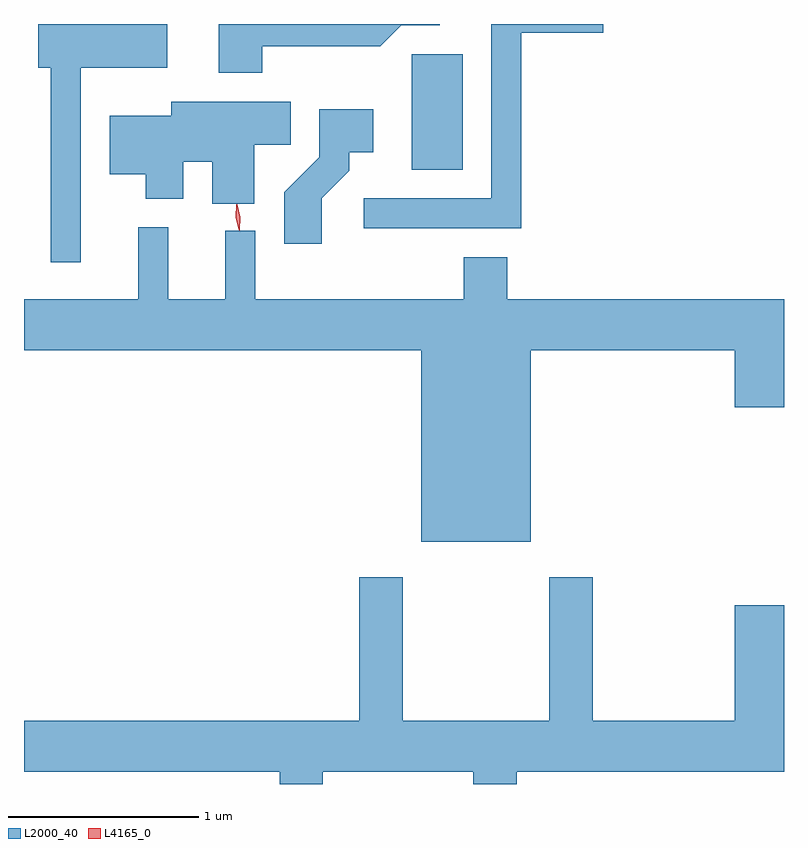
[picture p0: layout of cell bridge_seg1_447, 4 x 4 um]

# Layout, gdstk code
import gdstk
lib = gdstk.Library(unit=1e-6, precision=1e-09)
def R(c, l, rs):  # rectangles x0, y0, x1, y1
    for r in rs: c.add(gdstk.rectangle(r[:2], r[2:], *l))
def P(c, l, *ps):  # polygons
    for p in ps: c.add(gdstk.Polygon(p, *l))
L2000_40 = (2000, 40)
L4165_0 = (4165, 0)

bridge_seg1_447 = lib.new_cell('bridge_seg1_447')
R(bridge_seg1_447, L2000_40, [(353.236,860.566,353.504,861.174)])
P(bridge_seg1_447, L2000_40, [(352.449,861.216),(353.072,861.216),(353.182,861.326),(353.383,861.326),(353.383,861.332),(352.221,861.332),(352.221,861.076),(352.449,861.076)],
  [(351.494,861.101),(351.949,861.101),(351.949,861.332),(351.271,861.332),(351.271,861.101),(351.336,861.101),(351.336,860.078),(351.494,860.078)],
  [(353.814,861.286),(354.244,861.286),(354.244,861.332),(353.656,861.332),(353.656,860.414),(352.983,860.414),(352.983,860.256),(353.814,860.256)],
  [(352.409,860.696),(352.599,860.696),(352.599,860.924),(351.971,860.924),(351.971,860.849),(351.646,860.849),(351.646,860.541),(351.836,860.541),(351.836,860.411),(352.034,860.411),(352.034,860.606),(352.186,860.606),(352.186,860.386),(352.409,860.386)],
  [(352.764,860.414),(352.909,860.559),(352.909,860.656),(353.034,860.656),(353.034,860.884),(352.751,860.884),(352.751,860.632),(352.566,860.447),(352.566,860.176),(352.764,860.176)],
  [(353.864,859.616),(354.936,859.616),(354.936,859.316),(355.196,859.316),(355.196,859.884),(353.739,859.884),(353.739,860.104),(353.511,860.104),(353.511,859.884),(352.414,859.884),(352.414,860.243),(352.256,860.243),(352.256,859.884),(351.954,859.884),(351.954,860.263),(351.796,860.263),(351.796,859.884),(351.196,859.884),(351.196,859.616),(353.286,859.616),(353.286,858.606),(353.864,858.606)],
  [(352.769,857.396),(353.561,857.396),(353.561,857.332),(353.789,857.332),(353.789,857.396),(355.196,857.396),(355.196,858.274),(354.936,858.274),(354.936,857.664),(354.189,857.664),(354.189,858.419),(353.961,858.419),(353.961,857.664),(353.189,857.664),(353.189,858.419),(352.961,858.419),(352.961,857.664),(351.196,857.664),(351.196,857.396),(352.541,857.396),(352.541,857.332),(352.769,857.332)])
P(bridge_seg1_447, L4165_0, [(352.327,860.248),(352.327,860.249),(352.311,860.314),(352.314,860.38),(352.314,860.381),(352.315,860.38),(352.331,860.316),(352.328,860.249)],
  [(352.331,860.245),(352.33,860.246),(352.314,860.313),(352.317,860.383),(352.317,860.383),(352.318,860.383),(352.334,860.316),(352.331,860.246)])

lib.write_gds('bridge_seg1_447.gds')
